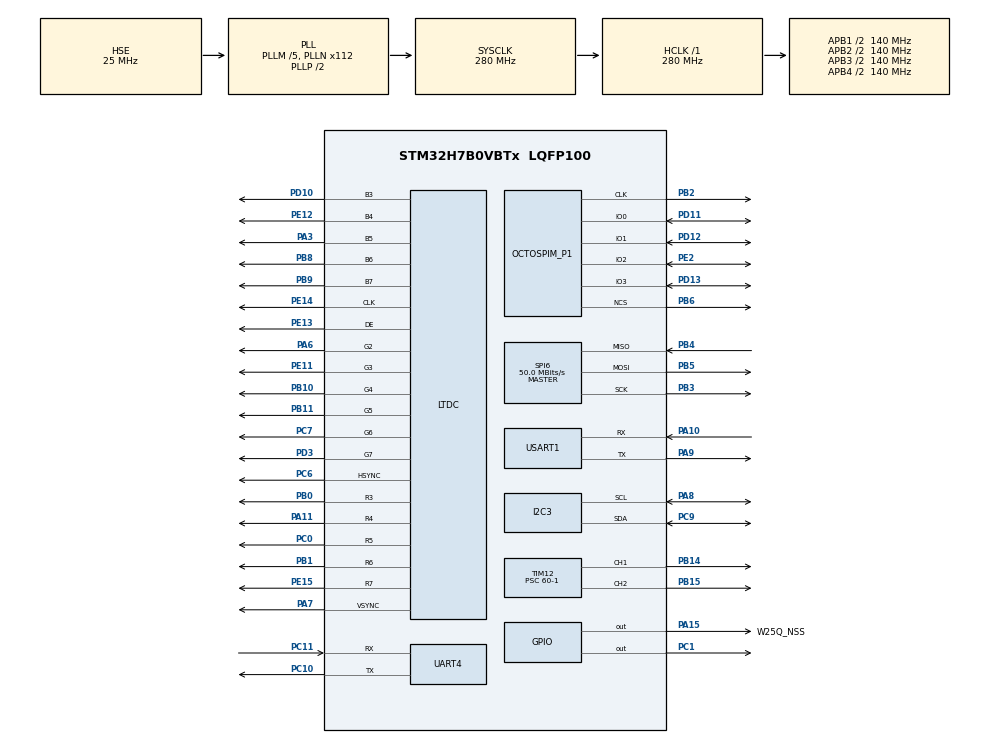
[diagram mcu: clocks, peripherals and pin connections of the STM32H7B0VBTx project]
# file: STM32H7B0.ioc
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ADC2.AWD1HighThreshold=0x3ffffff
ADC2.AWD1ITMode=ENABLE
ADC2.AWD1LowThreshold=0x4ccc
ADC2.Channel-0\#ChannelRegularConversion=ADC_CHANNEL_TEMPSENSOR
ADC2.ClockPrescaler=ADC_CLOCK_ASYNC_DIV8
ADC2.ContinuousConvMode=ENABLE
ADC2.EnableAnalogWatchDog1=true
ADC2.NbrOfConversionFlag=1
ADC2.OffsetNumber-0\#ChannelRegularConversion=ADC_OFFSET_NONE
ADC2.OffsetSignedSaturation-0\#ChannelRegularConversion=DISABLE
ADC2.Rank-0\#ChannelRegularConversion=1
ADC2.SamplingTime-0\#ChannelRegularConversion=ADC_SAMPLETIME_1CYCLE_5
ADC2.WatchdogChannel=ADC_CHANNEL_TEMPSENSOR
CORTEX_M7.CPU_DCache=Enabled
CORTEX_M7.CPU_ICache=Enabled
CORTEX_M7.default_mode_Activation=0
DMA2D.ColorMode=DMA2D_OUTPUT_RGB565
Dma.ADC2.0.Direction=DMA_PERIPH_TO_MEMORY
Dma.ADC2.0.EventEnable=DISABLE
Dma.ADC2.0.FIFOMode=DMA_FIFOMODE_DISABLE
Dma.ADC2.0.Instance=DMA1_Stream0
Dma.ADC2.0.MemDataAlignment=DMA_MDATAALIGN_HALFWORD
Dma.ADC2.0.MemInc=DMA_MINC_ENABLE
Dma.ADC2.0.Mode=DMA_NORMAL
Dma.ADC2.0.PeriphDataAlignment=DMA_PDATAALIGN_HALFWORD
Dma.ADC2.0.PeriphInc=DMA_PINC_DISABLE
Dma.ADC2.0.Polarity=HAL_DMAMUX_REQ_GEN_RISING
Dma.ADC2.0.Priority=DMA_PRIORITY_LOW
Dma.ADC2.0.RequestNumber=1
Dma.ADC2.0.SignalID=NONE
Dma.ADC2.0.SyncEnable=DISABLE
Dma.ADC2.0.SyncPolarity=HAL_DMAMUX_SYNC_NO_EVENT
Dma.ADC2.0.SyncRequestNumber=1
Dma.ADC2.0.SyncSignalID=NONE
Dma.I2C3_RX.4.Direction=DMA_PERIPH_TO_MEMORY
Dma.I2C3_RX.4.EventEnable=DISABLE
Dma.I2C3_RX.4.FIFOMode=DMA_FIFOMODE_DISABLE
Dma.I2C3_RX.4.Instance=DMA1_Stream4
Dma.I2C3_RX.4.MemDataAlignment=DMA_MDATAALIGN_BYTE
Dma.I2C3_RX.4.MemInc=DMA_MINC_ENABLE
Dma.I2C3_RX.4.Mode=DMA_CIRCULAR
Dma.I2C3_RX.4.PeriphDataAlignment=DMA_PDATAALIGN_BYTE
Dma.I2C3_RX.4.PeriphInc=DMA_PINC_DISABLE
Dma.I2C3_RX.4.Polarity=HAL_DMAMUX_REQ_GEN_RISING
Dma.I2C3_RX.4.Priority=DMA_PRIORITY_LOW
Dma.I2C3_RX.4.RequestNumber=1
Dma.I2C3_RX.4.SignalID=NONE
Dma.I2C3_RX.4.SyncEnable=DISABLE
Dma.I2C3_RX.4.SyncPolarity=HAL_DMAMUX_SYNC_NO_EVENT
Dma.I2C3_RX.4.SyncRequestNumber=1
Dma.I2C3_RX.4.SyncSignalID=NONE
Dma.I2C3_TX.3.Direction=DMA_MEMORY_TO_PERIPH
Dma.I2C3_TX.3.EventEnable=DISABLE
Dma.I2C3_TX.3.FIFOMode=DMA_FIFOMODE_DISABLE
Dma.I2C3_TX.3.Instance=DMA1_Stream3
Dma.I2C3_TX.3.MemDataAlignment=DMA_MDATAALIGN_BYTE
Dma.I2C3_TX.3.MemInc=DMA_MINC_ENABLE
Dma.I2C3_TX.3.Mode=DMA_NORMAL
Dma.I2C3_TX.3.PeriphDataAlignment=DMA_PDATAALIGN_BYTE
Dma.I2C3_TX.3.PeriphInc=DMA_PINC_DISABLE
Dma.I2C3_TX.3.Polarity=HAL_DMAMUX_REQ_GEN_RISING
Dma.I2C3_TX.3.Priority=DMA_PRIORITY_LOW
Dma.I2C3_TX.3.RequestNumber=1
Dma.I2C3_TX.3.SignalID=NONE
Dma.I2C3_TX.3.SyncEnable=DISABLE
Dma.I2C3_TX.3.SyncPolarity=HAL_DMAMUX_SYNC_NO_EVENT
Dma.I2C3_TX.3.SyncRequestNumber=1
Dma.I2C3_TX.3.SyncSignalID=NONE
Dma.Request0=ADC2
Dma.Request1=USART1_RX
Dma.Request2=USART1_TX
Dma.Request3=I2C3_TX
Dma.Request4=I2C3_RX
Dma.Request5=UART4_RX
Dma.Request6=UART4_TX
Dma.UART4_RX.5.Direction=DMA_PERIPH_TO_MEMORY
Dma.UART4_RX.5.EventEnable=DISABLE
Dma.UART4_RX.5.FIFOMode=DMA_FIFOMODE_DISABLE
Dma.UART4_RX.5.Instance=DMA1_Stream5
Dma.UART4_RX.5.MemDataAlignment=DMA_MDATAALIGN_BYTE
Dma.UART4_RX.5.MemInc=DMA_MINC_ENABLE
Dma.UART4_RX.5.Mode=DMA_CIRCULAR
Dma.UART4_RX.5.PeriphDataAlignment=DMA_PDATAALIGN_BYTE
Dma.UART4_RX.5.PeriphInc=DMA_PINC_DISABLE
Dma.UART4_RX.5.Polarity=HAL_DMAMUX_REQ_GEN_RISING
Dma.UART4_RX.5.Priority=DMA_PRIORITY_LOW
Dma.UART4_RX.5.RequestNumber=1
Dma.UART4_RX.5.SignalID=NONE
Dma.UART4_RX.5.SyncEnable=DISABLE
Dma.UART4_RX.5.SyncPolarity=HAL_DMAMUX_SYNC_NO_EVENT
Dma.UART4_RX.5.SyncRequestNumber=1
Dma.UART4_RX.5.SyncSignalID=NONE
Dma.UART4_TX.6.Direction=DMA_MEMORY_TO_PERIPH
Dma.UART4_TX.6.EventEnable=DISABLE
Dma.UART4_TX.6.FIFOMode=DMA_FIFOMODE_DISABLE
Dma.UART4_TX.6.Instance=DMA1_Stream6
Dma.UART4_TX.6.MemDataAlignment=DMA_MDATAALIGN_BYTE
Dma.UART4_TX.6.MemInc=DMA_MINC_ENABLE
Dma.UART4_TX.6.Mode=DMA_NORMAL
Dma.UART4_TX.6.PeriphDataAlignment=DMA_PDATAALIGN_BYTE
Dma.UART4_TX.6.PeriphInc=DMA_PINC_DISABLE
Dma.UART4_TX.6.Polarity=HAL_DMAMUX_REQ_GEN_RISING
Dma.UART4_TX.6.Priority=DMA_PRIORITY_LOW
Dma.UART4_TX.6.RequestNumber=1
Dma.UART4_TX.6.SignalID=NONE
Dma.UART4_TX.6.SyncEnable=DISABLE
Dma.UART4_TX.6.SyncPolarity=HAL_DMAMUX_SYNC_NO_EVENT
Dma.UART4_TX.6.SyncRequestNumber=1
Dma.UART4_TX.6.SyncSignalID=NONE
Dma.USART1_RX.1.Direction=DMA_PERIPH_TO_MEMORY
Dma.USART1_RX.1.EventEnable=DISABLE
Dma.USART1_RX.1.FIFOMode=DMA_FIFOMODE_DISABLE
Dma.USART1_RX.1.Instance=DMA1_Stream1
Dma.USART1_RX.1.MemDataAlignment=DMA_MDATAALIGN_BYTE
Dma.USART1_RX.1.MemInc=DMA_MINC_ENABLE
Dma.USART1_RX.1.Mode=DMA_CIRCULAR
Dma.USART1_RX.1.PeriphDataAlignment=DMA_PDATAALIGN_BYTE
Dma.USART1_RX.1.PeriphInc=DMA_PINC_DISABLE
Dma.USART1_RX.1.Polarity=HAL_DMAMUX_REQ_GEN_RISING
Dma.USART1_RX.1.Priority=DMA_PRIORITY_MEDIUM
Dma.USART1_RX.1.RequestNumber=1
Dma.USART1_RX.1.SignalID=NONE
Dma.USART1_RX.1.SyncEnable=DISABLE
Dma.USART1_RX.1.SyncPolarity=HAL_DMAMUX_SYNC_NO_EVENT
Dma.USART1_RX.1.SyncRequestNumber=1
Dma.USART1_RX.1.SyncSignalID=NONE
Dma.USART1_TX.2.Direction=DMA_MEMORY_TO_PERIPH
Dma.USART1_TX.2.EventEnable=DISABLE
Dma.USART1_TX.2.FIFOMode=DMA_FIFOMODE_DISABLE
Dma.USART1_TX.2.Instance=DMA1_Stream2
Dma.USART1_TX.2.MemDataAlignment=DMA_MDATAALIGN_BYTE
Dma.USART1_TX.2.MemInc=DMA_MINC_ENABLE
Dma.USART1_TX.2.Mode=DMA_NORMAL
Dma.USART1_TX.2.PeriphDataAlignment=DMA_PDATAALIGN_BYTE
Dma.USART1_TX.2.PeriphInc=DMA_PINC_DISABLE
Dma.USART1_TX.2.Polarity=HAL_DMAMUX_REQ_GEN_RISING
Dma.USART1_TX.2.Priority=DMA_PRIORITY_MEDIUM
Dma.USART1_TX.2.RequestNumber=1
Dma.USART1_TX.2.SignalID=NONE
Dma.USART1_TX.2.SyncEnable=DISABLE
Dma.USART1_TX.2.SyncPolarity=HAL_DMAMUX_SYNC_NO_EVENT
Dma.USART1_TX.2.SyncRequestNumber=1
Dma.USART1_TX.2.SyncSignalID=NONE
FREERTOS.BinarySemaphores01=BinarySem_DebugOutPut,Dynamic,NULL
FREERTOS.Events01=Event_lowPower,Dynamic,NULL
FREERTOS.INCLUDE_xEventGroupSetBitFromISR=1
FREERTOS.Mutexes01=Mutex_Usart1,Dynamic,NULL
FREERTOS.Tasks01=defaultTask,24,128,StartDefaultTask,As weak,NULL,Dynamic,NULL,NULL;testTask,48,128,StartTasktest,As weak,NULL,Static,testTaskBuffer,testTaskControlBlock;lowPowerTask,24,128,StartTask_lowPower,As weak,NULL,Dynamic,NULL,NULL
FREERTOS.configENABLE_FPU=1
I2C3.Timing=0x20B0CCFF
LTDC.ActiveH=480
LTDC.ActiveW=800
LTDC.Alpha_L0=255
LTDC.FBStartAdress_L0=0x24000000
LTDC.HBP=80
LTDC.HFP=200
LTDC.HSync=1
LTDC.ImageHeight_L0=480
LTDC.ImageWidth_L0=800
LTDC.Layers=0
LTDC.PixelFormat_L0=LTDC_PIXEL_FORMAT_RGB565
LTDC.VBP=40
LTDC.VFP=22
LTDC.VSync=1
LTDC.WindowX1_L0=800
LTDC.WindowY1_L0=480
Mcu.Family=STM32H7
Mcu.Name=STM32H7B0VBTx
Mcu.Package=LQFP100
NVIC.ADC_IRQn=true\:5\:0\:false\:false\:true\:true\:true\:true\:true
NVIC.DMA1_Stream0_IRQn=true\:9\:0\:true\:false\:true\:true\:false\:true\:true
NVIC.DMA1_Stream1_IRQn=true\:9\:0\:true\:false\:true\:true\:false\:true\:true
NVIC.DMA1_Stream2_IRQn=true\:9\:0\:true\:false\:true\:true\:false\:true\:true
NVIC.DMA1_Stream3_IRQn=true\:5\:0\:false\:false\:true\:true\:false\:true\:true
NVIC.DMA1_Stream4_IRQn=true\:5\:0\:false\:false\:true\:true\:false\:true\:true
NVIC.DMA1_Stream5_IRQn=true\:5\:0\:false\:false\:true\:true\:false\:true\:true
NVIC.DMA1_Stream6_IRQn=true\:5\:0\:false\:false\:true\:true\:false\:true\:true
NVIC.DMA2D_IRQn=true\:6\:0\:true\:false\:true\:true\:true\:true\:true
NVIC.I2C3_ER_IRQn=true\:5\:0\:false\:false\:true\:true\:true\:true\:true
NVIC.I2C3_EV_IRQn=true\:5\:0\:false\:false\:true\:true\:true\:true\:true
NVIC.LTDC_IRQn=true\:6\:0\:true\:false\:true\:true\:true\:true\:true
NVIC.PriorityGroup=NVIC_PRIORITYGROUP_4
NVIC.SPI6_IRQn=true\:5\:0\:false\:false\:true\:true\:true\:true\:true
NVIC.TIM17_IRQn=true\:0\:0\:true\:false\:true\:false\:false\:true\:true
NVIC.TimeBase=TIM17_IRQn
NVIC.TimeBaseIP=TIM17
NVIC.UART4_IRQn=true\:5\:0\:false\:false\:true\:true\:true\:true\:true
NVIC.USART1_IRQn=true\:5\:0\:false\:false\:true\:true\:true\:true\:true
OCTOSPI1.ChipSelectBoundary=0
OCTOSPI1.ClockMode=HAL_OSPI_CLOCK_MODE_3
OCTOSPI1.ClockPrescaler=2
OCTOSPI1.DeviceSize=23
OCTOSPI1.FifoThreshold=8
OCTOSPI1.SampleShifting=HAL_OSPI_SAMPLE_SHIFTING_HALFCYCLE
PA10.Mode=Asynchronous
PA10.Signal=USART1_RX
PA11.GPIO_Speed=GPIO_SPEED_FREQ_VERY_HIGH
PA11.Mode=RGB565
PA11.Signal=LTDC_R4
PA15.GPIO_Label=W25Q_NSS
PA15.GPIO_Speed=GPIO_SPEED_FREQ_VERY_HIGH
PA15.PinState=GPIO_PIN_SET
PA15.Signal=GPIO_Output
PA3.GPIO_Speed=GPIO_SPEED_FREQ_VERY_HIGH
PA3.Mode=RGB565
PA3.Signal=LTDC_B5
PA6.GPIO_Speed=GPIO_SPEED_FREQ_VERY_HIGH
PA6.Mode=RGB565
PA6.Signal=LTDC_G2
PA7.GPIO_Speed=GPIO_SPEED_FREQ_VERY_HIGH
PA7.Mode=RGB565
PA7.Signal=LTDC_VSYNC
PA8.Mode=I2C
PA8.Signal=I2C3_SCL
PA9.Mode=Asynchronous
PA9.Signal=USART1_TX
PB0.GPIO_Speed=GPIO_SPEED_FREQ_VERY_HIGH
PB0.Mode=RGB565
PB0.Signal=LTDC_R3
PB1.GPIO_Speed=GPIO_SPEED_FREQ_VERY_HIGH
PB1.Mode=RGB565
PB1.Signal=LTDC_R6
PB10.GPIO_Speed=GPIO_SPEED_FREQ_VERY_HIGH
PB10.Mode=RGB565
PB10.Signal=LTDC_G4
PB11.GPIO_Speed=GPIO_SPEED_FREQ_VERY_HIGH
PB11.Mode=RGB565
PB11.Signal=LTDC_G5
PB14.Signal=S_TIM12_CH1
PB15.Signal=S_TIM12_CH2
PB2.Mode=O1_P1_CLK
PB2.Signal=OCTOSPIM_P1_CLK
PB3.GPIO_Speed=GPIO_SPEED_FREQ_VERY_HIGH
PB3.Mode=Full_Duplex_Master
PB3.Signal=SPI6_SCK
PB4.GPIO_Speed=GPIO_SPEED_FREQ_VERY_HIGH
PB4.Mode=Full_Duplex_Master
PB4.Signal=SPI6_MISO
PB5.GPIO_Speed=GPIO_SPEED_FREQ_VERY_HIGH
PB5.Mode=Full_Duplex_Master
PB5.Signal=SPI6_MOSI
PB6.Mode=OCTOSPI1_Port1_NCS
PB6.Signal=OCTOSPIM_P1_NCS
PB8.GPIO_Speed=GPIO_SPEED_FREQ_VERY_HIGH
PB8.Mode=RGB565
PB8.Signal=LTDC_B6
PB9.GPIO_Speed=GPIO_SPEED_FREQ_VERY_HIGH
PB9.Mode=RGB565
PB9.Signal=LTDC_B7
PC0.GPIO_Speed=GPIO_SPEED_FREQ_VERY_HIGH
PC0.Mode=RGB565
PC0.Signal=LTDC_R5
PC1.Signal=GPIO_Output
PC10.Mode=Asynchronous
PC10.Signal=UART4_TX
PC11.Mode=Asynchronous
PC11.Signal=UART4_RX
PC14-OSC32_IN.Mode=LSE-External-Oscillator
PC14-OSC32_IN.Signal=RCC_OSC32_IN
PC15-OSC32_OUT.Mode=LSE-External-Oscillator
PC15-OSC32_OUT.Signal=RCC_OSC32_OUT
PC6.GPIO_Speed=GPIO_SPEED_FREQ_VERY_HIGH
PC6.Mode=RGB565
PC6.Signal=LTDC_HSYNC
PC7.GPIO_Speed=GPIO_SPEED_FREQ_VERY_HIGH
PC7.Mode=RGB565
PC7.Signal=LTDC_G6
PC9.Mode=I2C
PC9.Signal=I2C3_SDA
PD10.GPIO_Speed=GPIO_SPEED_FREQ_VERY_HIGH
PD10.Mode=RGB565
PD10.Signal=LTDC_B3
PD11.Mode=OCTOSPI1_IOL_Port1L
PD11.Signal=OCTOSPIM_P1_IO0
PD12.Mode=OCTOSPI1_IOL_Port1L
PD12.Signal=OCTOSPIM_P1_IO1
PD13.Mode=OCTOSPI1_IOL_Port1L
PD13.Signal=OCTOSPIM_P1_IO3
PD3.GPIO_Speed=GPIO_SPEED_FREQ_VERY_HIGH
PD3.Mode=RGB565
PD3.Signal=LTDC_G7
PD5.Signal=USART2_TX
PE11.GPIO_Speed=GPIO_SPEED_FREQ_VERY_HIGH
PE11.Mode=RGB565
PE11.Signal=LTDC_G3
PE12.GPIO_Speed=GPIO_SPEED_FREQ_VERY_HIGH
PE12.Mode=RGB565
PE12.Signal=LTDC_B4
PE13.GPIO_Speed=GPIO_SPEED_FREQ_VERY_HIGH
PE13.Mode=RGB565
PE13.Signal=LTDC_DE
PE14.GPIO_Speed=GPIO_SPEED_FREQ_VERY_HIGH
PE14.Mode=RGB565
PE14.Signal=LTDC_CLK
PE15.GPIO_Speed=GPIO_SPEED_FREQ_VERY_HIGH
PE15.Mode=RGB565
PE15.Signal=LTDC_R7
PE2.Mode=OCTOSPI1_IOL_Port1L
PE2.Signal=OCTOSPIM_P1_IO2
PH0-OSC_IN.Mode=HSE-External-Oscillator
PH0-OSC_IN.Signal=RCC_OSC_IN
PH1-OSC_OUT.Mode=HSE-External-Oscillator
PH1-OSC_OUT.Signal=RCC_OSC_OUT
ProjectManager.HeapSize=0x16000
ProjectManager.StackSize=0x12000
ProjectManager.TargetToolchain=MDK-ARM V5.32
RCC.ADCFreq_Value=20000000
RCC.APB1Freq_Value=140000000
RCC.APB2Freq_Value=140000000
RCC.APB3Freq_Value=140000000
RCC.APB4Freq_Value=140000000
RCC.CDPPRE=RCC_APB3_DIV2
RCC.CDPPRE1=RCC_APB1_DIV2
RCC.CDPPRE2=RCC_APB2_DIV2
RCC.CortexFreq_Value=280000000
RCC.DIVM1=5
RCC.DIVM2=2
RCC.DIVM3=2
RCC.DIVN1=112
RCC.DIVN2=40
RCC.DIVN3=11
RCC.DIVP2=25
RCC.DIVQ2=5
RCC.DIVR3=1
RCC.HCLKFreq_Value=280000000
RCC.HSE_VALUE=25000000
RCC.PLL1_VCI_Range-AdvancedSettings=RCC_PLL1VCIRANGE_0
RCC.PLL2_VCI_Range-AdvancedSettings=RCC_PLL2VCIRANGE_1
RCC.PLL2_VCO_SEL-AdvancedSettings=RCC_PLL2VCOMEDIUM
RCC.PLLSourceVirtual=RCC_PLLSOURCE_HSE
RCC.SPI6CLockSelection=RCC_SPI6CLKSOURCE_PLL2
RCC.SRDPPRE=RCC_APB4_DIV2
RCC.SYSCLKFreq_VALUE=280000000
RCC.SYSCLKSource=RCC_SYSCLKSOURCE_PLLCLK
RCC.SupplySource=PWR_LDO_SUPPLY
RCC.USBFreq_Value=280000000
SH.S_TIM12_CH1.0=TIM12_CH1,PWM Generation1 CH1
SH.S_TIM12_CH2.0=TIM12_CH2,PWM Generation2 CH2
SPI6.BaudRatePrescaler=SPI_BAUDRATEPRESCALER_2
SPI6.CalculateBaudRate=50.0 MBits/s
SPI6.DataSize=SPI_DATASIZE_8BIT
SPI6.Direction=SPI_DIRECTION_2LINES
SPI6.FifoThreshold=SPI_FIFO_THRESHOLD_01DATA
SPI6.MasterKeepIOState=SPI_MASTER_KEEP_IO_STATE_ENABLE
SPI6.Mode=SPI_MODE_MASTER
SPI6.NSSPMode=SPI_NSS_PULSE_DISABLE
SPI6.VirtualType=VM_MASTER
TIM12.AutoReloadPreload=TIM_AUTORELOAD_PRELOAD_ENABLE
TIM12.Channel-PWM\ Generation1\ CH1=TIM_CHANNEL_1
TIM12.Channel-PWM\ Generation2\ CH2=TIM_CHANNEL_2
TIM12.Period=10000-1
TIM12.Prescaler=60-1
TIM12.Pulse-PWM\ Generation1\ CH1=4999
TIM12.Pulse-PWM\ Generation2\ CH2=4999
USART1.VirtualMode-Asynchronous=VM_ASYNC
VP_ADC2_TempSens_Input.Mode=IN-TempSens
VP_DMA2D_VS_DMA2D.Mode=DMA2D_Activate
VP_FREERTOS_VS_CMSIS_V2.Mode=CMSIS_V2
VP_OCTOSPI1_VS_quad.Mode=quad_mode
VP_SYS_VS_tim17.Mode=TIM17
VP_TIM12_VS_ClockSourceINT.Mode=Internal
board=custom

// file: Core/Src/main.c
/* USER CODE BEGIN Header */
/**
  ******************************************************************************
  * @file           : main.c
  * @brief          : Main program body
  ******************************************************************************
  * @attention
  *
  * Copyright (c) 2023 STMicroelectronics.
  * All rights reserved.
  *
  * This software is licensed under terms that can be found in the LICENSE file
  * in the root directory of this software component.
  * If no LICENSE file comes with this software, it is provided AS-IS.
  *
  ******************************************************************************
  */
/* USER CODE END Header */
#include "main.h"
#include "cmsis_os.h"
#include "adc.h"
#include "dma.h"
#include "dma2d.h"
#include "i2c.h"
#include "ltdc.h"
#include "octospi.h"
#include "spi.h"
#include "tim.h"
#include "usart.h"
#include "gpio.h"

/* USER CODE BEGIN Includes */
#include "led.h"
#include "kfifo.h"
#include "klist.h"
#include "common.h"
#include "com_component.h"
#include "shell_port.h"
#include "shell_port.h"
#include "perf_counter.h"

#define LOG_TAG    "main"
#include <elog.h>
#include "led.h"
#include "common.h"
#include "sfud.h"
#include "flashdb.h"
#include "fal.h"
#include "semphr.h"
#include "adc.h"
#include "usart.h"
#include "com_component.h"
#include "perf_counter.h"

//#include "cm_backtrace.h"

/* USER CODE END Includes */

/* USER CODE BEGIN PV */
//		 extern com_uart_t com;
/* USER CODE END PV */

void SystemClock_Config(void);
void PeriphCommonClock_Config(void);
void MX_FREERTOS_Init(void);

int main(void)
{
  /* USER CODE BEGIN 1 */
//cm_backtrace_init("0.1","0.1","0.1");
  /* USER CODE END 1 */

  /* Enable I-Cache---------------------------------------------------------*/
  SCB_EnableICache();

  /* Enable D-Cache---------------------------------------------------------*/
  SCB_EnableDCache();

  /* MCU Configuration--------------------------------------------------------*/

  /* Reset of all peripherals, Initializes the Flash interface and the Systick. */
  HAL_Init();

  /* USER CODE BEGIN Init */
	SCB->CACR|=1<<2;

  /* USER CODE END Init */

  /* Configure the system clock */
  SystemClock_Config();

/* Configure the peripherals common clocks */
  PeriphCommonClock_Config();

  /* Initialize all configured peripherals */
  MX_GPIO_Init();
  MX_DMA_Init();
  MX_OCTOSPI1_Init();
  MX_DMA2D_Init();
  MX_LTDC_Init();
  MX_I2C3_Init();
  MX_SPI6_Init();
  MX_ADC2_Init();
  MX_USART1_UART_Init();
  MX_TIM12_Init();
  MX_UART4_Init();
  /* USER CODE BEGIN 2 */

	    //! setup system clock

    /*! \brief Update SystemCoreClock with the latest CPU frequency
     *!        If the function doesn't exist or doesn't work correctly,
     *!        Please update SystemCoreClock directly with the correct
     *!        system frequency in Hz.
     *!
     *!        extern volatile uint32_t SystemCoreClock;
     */
    SystemCoreClockUpdate();

    /*! \brief initialize perf_counter() and pass true if SysTick is
     *!        occupied by user applications or RTOS, otherwise pass
     *!        false.
     */
    init_cycle_counter(true);
//  HAL_TIM_PWM_Start(&htim12, TIM_CHANNEL_1);  /* �?启定时器3通道1的PWM输出 */
//	__HAL_TIM_SetCompare(&htim12, TIM_CHANNEL_1, 9999);    //通过修改比较值来改变占空�?

#if 1

#include "com_component.h"

com_user_init();

#endif

//printf_test();

	//SPI_W25Qxx_Init();

  /* USER CODE END 2 */

  /* Init scheduler */
  osKernelInitialize();  /* Call init function for freertos objects (in freertos.c) */
  MX_FREERTOS_Init();

  /* Start scheduler */
  osKernelStart();
  /* We should never get here as control is now taken by the scheduler */
  /* Infinite loop */
  while (1)
  {

  }
}

void SystemClock_Config(void)
{
  RCC_OscInitTypeDef RCC_OscInitStruct = {0};
  RCC_ClkInitTypeDef RCC_ClkInitStruct = {0};

  /*AXI clock gating */
  RCC->CKGAENR = 0xFFFFFFFF;

  /** Supply configuration update enable
  */
  HAL_PWREx_ConfigSupply(PWR_LDO_SUPPLY);

  /** Configure the main internal regulator output voltage
  */
  __HAL_PWR_VOLTAGESCALING_CONFIG(PWR_REGULATOR_VOLTAGE_SCALE0);

  while(!__HAL_PWR_GET_FLAG(PWR_FLAG_VOSRDY)) {}

  /** Initializes the RCC Oscillators according to the specified parameters
  * in the RCC_OscInitTypeDef structure.
  */
  RCC_OscInitStruct.OscillatorType = RCC_OSCILLATORTYPE_HSE;
  RCC_OscInitStruct.HSEState = RCC_HSE_ON;
  RCC_OscInitStruct.PLL.PLLState = RCC_PLL_ON;
  RCC_OscInitStruct.PLL.PLLSource = RCC_PLLSOURCE_HSE;
  RCC_OscInitStruct.PLL.PLLM = 5;
  RCC_OscInitStruct.PLL.PLLN = 112;
  RCC_OscInitStruct.PLL.PLLP = 2;
  RCC_OscInitStruct.PLL.PLLQ = 2;
  RCC_OscInitStruct.PLL.PLLR = 2;
  RCC_OscInitStruct.PLL.PLLRGE = RCC_PLL1VCIRANGE_2;
  RCC_OscInitStruct.PLL.PLLVCOSEL = RCC_PLL1VCOWIDE;
  RCC_OscInitStruct.PLL.PLLFRACN = 0;
  if (HAL_RCC_OscConfig(&RCC_OscInitStruct) != HAL_OK)
  {
    Error_Handler();
  }

  /** Initializes the CPU, AHB and APB buses clocks
  */
  RCC_ClkInitStruct.ClockType = RCC_CLOCKTYPE_HCLK|RCC_CLOCKTYPE_SYSCLK
                              |RCC_CLOCKTYPE_PCLK1|RCC_CLOCKTYPE_PCLK2
                              |RCC_CLOCKTYPE_D3PCLK1|RCC_CLOCKTYPE_D1PCLK1;
  RCC_ClkInitStruct.SYSCLKSource = RCC_SYSCLKSOURCE_PLLCLK;
  RCC_ClkInitStruct.SYSCLKDivider = RCC_SYSCLK_DIV1;
  RCC_ClkInitStruct.AHBCLKDivider = RCC_HCLK_DIV1;
  RCC_ClkInitStruct.APB3CLKDivider = RCC_APB3_DIV2;
  RCC_ClkInitStruct.APB1CLKDivider = RCC_APB1_DIV2;
  RCC_ClkInitStruct.APB2CLKDivider = RCC_APB2_DIV2;
  RCC_ClkInitStruct.APB4CLKDivider = RCC_APB4_DIV2;

  if (HAL_RCC_ClockConfig(&RCC_ClkInitStruct, FLASH_LATENCY_7) != HAL_OK)
  {
    Error_Handler();
  }
}

void PeriphCommonClock_Config(void)
{
  RCC_PeriphCLKInitTypeDef PeriphClkInitStruct = {0};

  /** Initializes the peripherals clock
  */
  PeriphClkInitStruct.PeriphClockSelection = RCC_PERIPHCLK_SPI6|RCC_PERIPHCLK_ADC;
  PeriphClkInitStruct.PLL2.PLL2M = 2;
  PeriphClkInitStruct.PLL2.PLL2N = 40;
  PeriphClkInitStruct.PLL2.PLL2P = 25;
  PeriphClkInitStruct.PLL2.PLL2Q = 5;
  PeriphClkInitStruct.PLL2.PLL2R = 2;
  PeriphClkInitStruct.PLL2.PLL2RGE = RCC_PLL2VCIRANGE_3;
  PeriphClkInitStruct.PLL2.PLL2VCOSEL = RCC_PLL2VCOWIDE;
  PeriphClkInitStruct.PLL2.PLL2FRACN = 0;
  PeriphClkInitStruct.AdcClockSelection = RCC_ADCCLKSOURCE_PLL2;
  PeriphClkInitStruct.Spi6ClockSelection = RCC_SPI6CLKSOURCE_PLL2;
  if (HAL_RCCEx_PeriphCLKConfig(&PeriphClkInitStruct) != HAL_OK)
  {
    Error_Handler();
  }
}

void HAL_TIM_PeriodElapsedCallback(TIM_HandleTypeDef *htim)
{
  if (htim->Instance == TIM17) {
    HAL_IncTick();
  }
}

void Error_Handler(void)
{
  __disable_irq();
  while (1)
  {
  }
}
